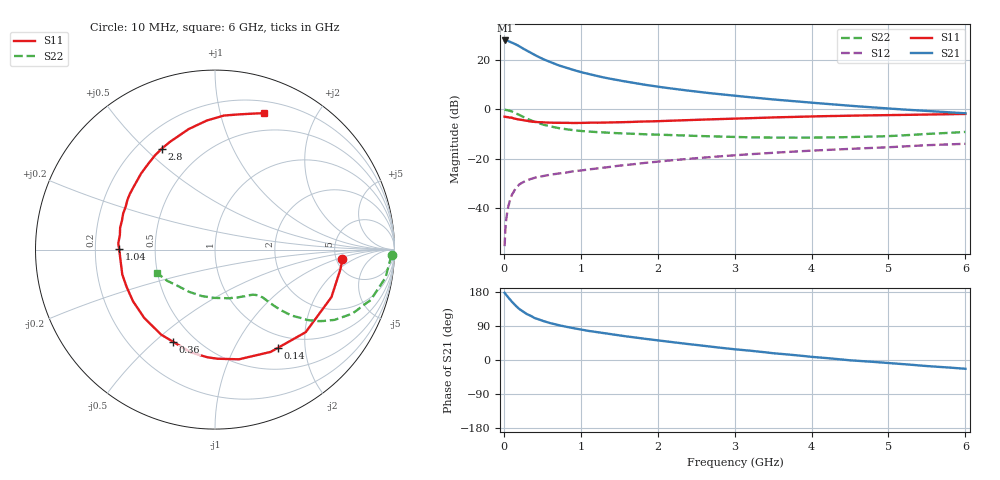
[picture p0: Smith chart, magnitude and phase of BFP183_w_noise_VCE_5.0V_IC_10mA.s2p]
! Infineon Technologies  Discrete & RF Semiconductors
! BFP183
! VCE = 5.0 V,  IC =  10 mA
! Common Emitter S-Parameters:  Jan 2016
# GHz  S  MA  R  50
!  f  S11  S21  S12  S22
! GHz  MAG  ANG  MAG  ANG  MAG  ANG  MAG  ANG
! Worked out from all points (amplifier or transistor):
!   210 points, 10 MHz to 6 GHz, reference 50 ohm
!   highest |S21| = 27.9 dB at 20 MHz (marker M1)
!   |S21| within 3 dB of that: start of sweep to 235.5 MHz
!   unconditionally stable (mu >= 1): 1.19 GHz to 5.675 GHz
!   at 185 MHz: K = 0.25, MSG = 28.4 dB, |S12| = -30.9 dB
!   at 1.52 GHz: K = 1.08, MAG = 15.4 dB, |S12| = -22.7 dB
!   at 6 GHz: K = 0.95, MSG = 6.2 dB, |S12| = -13.9 dB
!   lowest NFmin = 1.30 dB at 450 MHz
!   S11 on the Smith chart (normalised r, x): 10 MHz: 5.69, -1.20; 140 MHz: 0.80, -1.51; 360 MHz: 0.38, -0.57; 1.04 GHz: 0.30, +0.00; 2.8 GHz: 0.30, +0.56; 6 GHz: 0.31, +1.38
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0.01  0.7122 -4.2  24.79 177.2  0.0017 88.8  0.9845 -1.9
0.02  0.7074 -8.9  24.82 174.9  0.0038 86.0  0.9766 -3.7
0.05  0.7007 -22.2  24.45 166.7  0.0095 83.0  0.9629 -9.3
0.09  0.68 -38.2  22.97 157.3  0.0162 71.9  0.9205 -16.1
0.14  0.6499 -57.5  21.27 146.1  0.0232 63.8  0.8566 -23.5
0.15  0.649 -61.4  21 143.7  0.0246 62.6  0.8441 -25.0
0.2  0.6256 -77.7  19.03 134.8  0.0301 57.5  0.7734 -30.4
0.26  0.6017 -93.9  16.69 126.1  0.0342 51.8  0.6963 -34.9
0.36  0.5642 -114.5  13.7 115.5  0.0394 46.2  0.5944 -39.3
0.4  0.5609 -122.3  12.65 110.8  0.0412 44.5  0.5585 -40.9
0.5  0.5481 -136.0  10.54 103.5  0.0445 42.6  0.4959 -42.7
0.6  0.54 -147.8  9.105 97.5  0.0475 41.4  0.453 -43.6
0.8  0.5349 -164.9  7.04 87.9  0.0522 41.6  0.3974 -44.6
1.02  0.5327 -179.2  5.583 79.7  0.0584 41.9  0.3632 -45.7
1.04  0.5342 179.6  5.488 79.0  0.059 42.0  0.3611 -45.8
1.5  0.5498 158.5  3.853 64.8  0.0725 43.1  0.3282 -50.0
2.02  0.578 139.4  2.846 51.3  0.0881 42.5  0.3079 -57.7
2.8  0.6361 117.7  2.03 32.6  0.1117 39.0  0.2829 -73.6
3.1  0.6559 110.6  1.824 26.5  0.1206 37.2  0.2736 -81.0
4.1  0.7249 92.2  1.327 6.7  0.1485 30.5  0.2689 -109.1
5.1  0.7679 79.1  1.014 -9.5  0.1744 24.4  0.2922 -137.1
6  0.8084 70.1  0.833 -23.2  0.201 16.6  0.3493 -158.5
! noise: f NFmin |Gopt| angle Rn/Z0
0.45  1.3  0.15  45  0.18
0.9  1.4  0.2  125  0.19
1.8  2.1  0.34  -170  0.14
